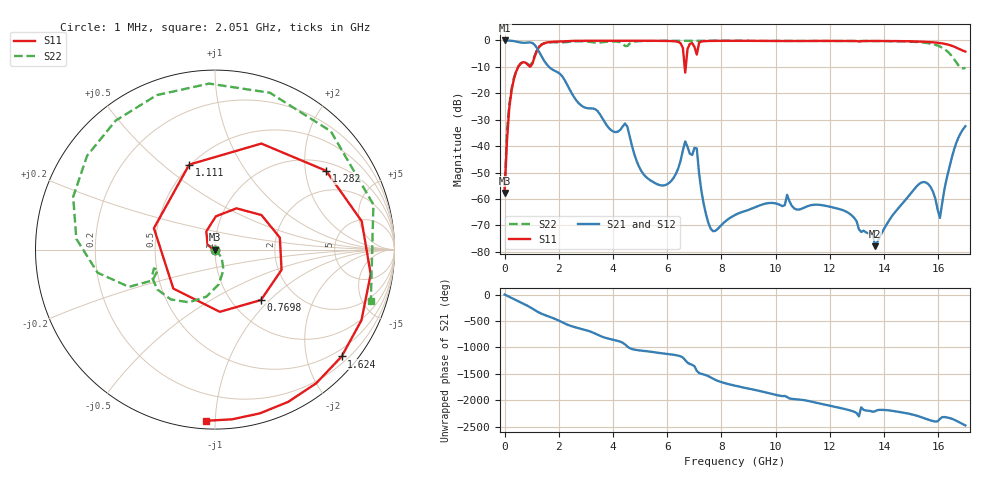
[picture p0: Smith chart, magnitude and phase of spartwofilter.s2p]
# GHz S RI R 50
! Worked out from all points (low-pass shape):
!   200 points, 1 MHz to 17 GHz, reference 50 ohm
!   highest |S21| = -0.01 dB at 1 MHz (marker M1); lowest = -77.9 dB at 13.67 GHz (marker M2)
!   |S21| within 3 dB of the highest: start of sweep to 1.201 GHz
!   lowest |S11| = -57.7 dB at 1 MHz (marker M3), VSWR 1.00, Z = 50.1 - j0.00113 ohm
!   |S11| at or under -10 dB: start of sweep to 505.8 MHz; 6.644 GHz to 6.685 GHz (40.73 MHz wide, 0.611 % of centre)
!   |S22| runs from -57.7 to -0.1 dB; largest |S21 - S12| = 6.3e-13
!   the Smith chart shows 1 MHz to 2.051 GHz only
!   S11 on the Smith chart (normalised r, x): 1 MHz: 1.00, -0.00; 769.8 MHz: 1.35, -0.89; 1.111 GHz: 0.49, +0.62; 1.282 GHz: 1.25, +2.60; 1.624 GHz: 0.33, -2.70; 2.051 GHz: 0.04, -0.95
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0.001  0.0013 -1.13e-05  0.9987 -0.00443  0.9987 -0.00443  0.0013 -1.34e-05
0.2572663  -0.0482 0.1016  0.4191 -0.8893  0.4191 -0.8893  0.0474 -0.1125
0.769799  0.256 -0.2809  -0.8834 0.1914  -0.8834 0.1914  -0.352 -0.1532
1.111487  -0.1436 0.4736  0.3291 0.7547  0.3291 0.7547  -0.4793 -0.2075
1.282332  0.6187 0.4394  0.5697 0.1716  0.5697 0.1716  -0.7724 0.0597
1.62402  0.7056 -0.5955  0.1885 -0.2605  0.1885 -0.2605  -0.3247 0.8607
2.051131  -0.052 -0.9538  -0.1901 -0.1317  -0.1901 -0.1317  0.8683 -0.2874
2.478241  -0.6543 -0.7298  -0.0506 0.0859  -0.0506 0.0859  -0.9369 -0.181
2.905352  -0.9446 -0.2779  0.0269 0.0484  0.0269 0.0484  -0.2576 0.9248
3.24704  -0.9809 0.0928  0.0515 0.00314  0.0515 0.00314  0.8985 0.2149
3.503307  -0.9253 0.3407  0.0222 -0.0346  0.0222 -0.0346  -0.0995 -0.9066
4.186683  -0.5645 0.8086  -0.0175 -0.00709  -0.0175 -0.00709  -0.1976 0.9221
4.528372  -0.3289 0.9296  -0.00322 0.0232  -0.00322 0.0232  -0.1385 -0.7705
4.87006  -0.0854 0.9825  0.0045 0.00272  0.0045 0.00272  -0.668 0.6914
5.724281  0.4749 0.8592  0.00166 -0.000776  0.00166 -0.000776  0.2632 0.9467
6.663925  0.2272 0.0947  -0.0114 -0.00462  -0.0114 -0.00462  0.7668 0.6175
8.543211  0.9766 -0.108  0.000151 0.000487  0.000151 0.000487  0.9581 -0.2217
11.36214  0.3475 -0.9138  -0.00051 0.000581  -0.00051 0.000581  0.2904 -0.9346
13.66854  -0.4911 -0.8435  8.81e-05 -9.27e-05  8.81e-05 -9.27e-05  -0.4845 -0.8445
14.18107  -0.6759 -0.7018  0.000342 -0.000189  0.000342 -0.000189  -0.6514 -0.7179
16.06036  -0.7735 0.4425  -0.000428 8.7e-05  -0.000428 8.7e-05  -0.6892 0.3351
17  0.1726 0.5904  0.0165 0.0172  0.0165 0.0172  -0.2015 0.2262
